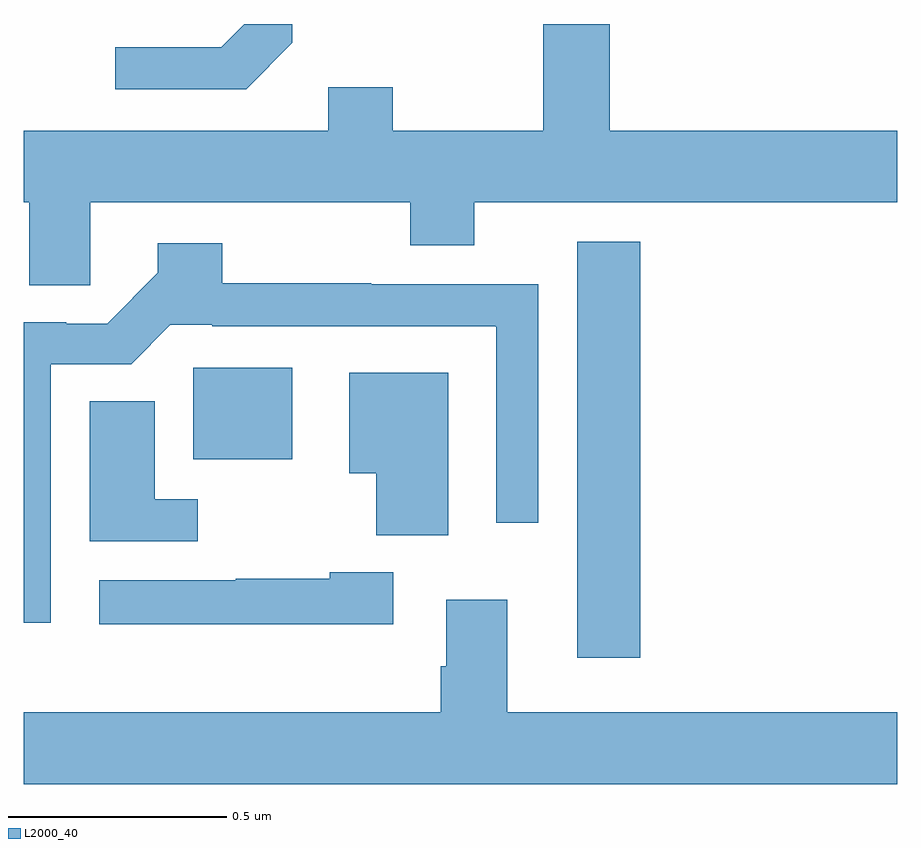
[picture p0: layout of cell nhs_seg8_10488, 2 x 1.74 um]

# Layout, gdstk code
import gdstk
lib = gdstk.Library(unit=1e-6, precision=1e-09)
def R(c, l, rs):  # rectangles x0, y0, x1, y1
    for r in rs: c.add(gdstk.rectangle(r[:2], r[2:], *l))
def P(c, l, *ps):  # polygons
    for p in ps: c.add(gdstk.Polygon(p, *l))
L2000_40 = (2000, 40)

nhs_seg8_10488 = lib.new_cell('nhs_seg8_10488')
R(nhs_seg8_10488, L2000_40, [(251.267,1123.449,251.411,1124.401), (250.388,1123.904,250.615,1124.113)])
P(nhs_seg8_10488, L2000_40, [(250.152,1124.492),(250.885,1124.492),(250.885,1124.393),(251.032,1124.393),(251.032,1124.492),(252,1124.492),(252,1124.656),(251.342,1124.656),(251.342,1124.9),(251.189,1124.9),(251.189,1124.656),(250.845,1124.656),(250.845,1124.755),(250.697,1124.755),(250.697,1124.656),(250,1124.656),(250,1124.492),(250.013,1124.492),(250.013,1124.302),(250.152,1124.302)],
  [(250.615,1124.857),(250.615,1124.9),(250.505,1124.9),(250.452,1124.847),(250.209,1124.847),(250.209,1124.751),(250.509,1124.751)],
  [(250.062,1124.121),(250.246,1124.121),(250.336,1124.211),(250.432,1124.211),(250.432,1124.208),(251.081,1124.208),(251.081,1124.207),(251.082,1124.207),(251.082,1123.758),(251.178,1123.758),(251.178,1124.304),(250.796,1124.304),(250.796,1124.306),(250.455,1124.306),(250.455,1124.398),(250.307,1124.398),(250.307,1124.33),(250.191,1124.214),(250.097,1124.214),(250.097,1124.217),(250,1124.217),(250,1123.529),(250.062,1123.529)],
  [(250.972,1124.101),(250.745,1124.101),(250.745,1123.871),(250.807,1123.871),(250.807,1123.73),(250.972,1123.73)],
  [(250.399,1123.812),(250.3,1123.812),(250.3,1124.036),(250.151,1124.036),(250.151,1123.716),(250.399,1123.716)],
  [(250.846,1123.645),(250.701,1123.645),(250.701,1123.63),(250.486,1123.63),(250.486,1123.627),(250.173,1123.627),(250.173,1123.526),(250.846,1123.526)],
  [(252,1123.324),(251.107,1123.324),(251.107,1123.582),(250.967,1123.582),(250.967,1123.43),(250.955,1123.43),(250.955,1123.324),(250,1123.324),(250,1123.16),(252,1123.16)])

lib.write_gds('nhs_seg8_10488.gds')
